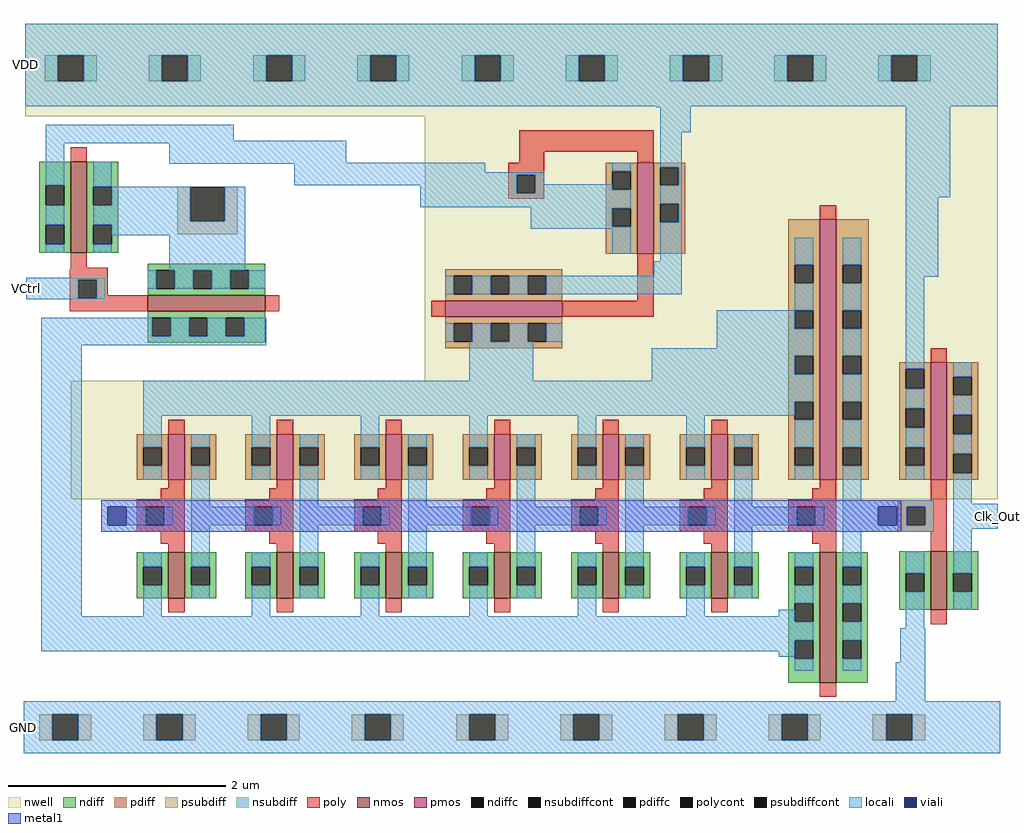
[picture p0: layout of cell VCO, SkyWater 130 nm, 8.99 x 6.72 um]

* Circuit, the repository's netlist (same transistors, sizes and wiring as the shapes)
*Current starved 3 stage VCO
.include sky130nm.lib

xm1 10 16 3 10 sky130_fd_pr__pfet_01v8 l=150n w=420n
xm2 3 16 9 9  sky130_fd_pr__nfet_01v8 l=150n w=420n

xm3 10 3 4 10 sky130_fd_pr__pfet_01v8 l=150n w=420n
xm4 4 3 9 9 sky130_fd_pr__nfet_01v8 l=150n w=420n

xm5 10 4 12 10 sky130_fd_pr__pfet_01v8 l=150n w=420n
xm6 12 4 9 9 sky130_fd_pr__nfet_01v8 l=150n w=420n

xm11 10 12 13 10 sky130_fd_pr__pfet_01v8 l=150n w=420n
xm12 13 12 9 9 sky130_fd_pr__nfet_01v8 l=150n w=420n

xm13 10 13 14 10 sky130_fd_pr__pfet_01v8 l=150n w=420n
xm14 14 13 9 9 sky130_fd_pr__nfet_01v8 l=150n w=420n

xm15 10 14 15 10 sky130_fd_pr__pfet_01v8 l=150n w=420n
xm16 15 14 9 9 sky130_fd_pr__nfet_01v8 l=150n w=420n

xm17 10 15 16 10 sky130_fd_pr__pfet_01v8 l=150n w=2400n
xm18 16 15 9 9 sky130_fd_pr__nfet_01v8 l=150n w=1200n

xm7 10 5 1 1 sky130_fd_pr__pfet_01v8 l=150n w=1080n
xm8 5 5 1 1 sky130_fd_pr__pfet_01v8 l=150n w=840n
xm9 5 in 0 0 sky130_fd_pr__nfet_01v8 l=150n w=840n
xm10 9 in 0 0 sky130_fd_pr__nfet_01v8 l=150n w=1080n

xm19 1 16 11 1 sky130_fd_pr__pfet_01v8 l=150n w=1080n
xm20 11 16 0 0 sky130_fd_pr__nfet_01v8 l=150n w=540n

*c1 11 0 10f
v1 1 0 1.8
v2 in 0 0.6


.control
tran 0.1ns 0.5us
plot v(in) v(11)
*setplot tran1
*linearize v(14)
*set specwindow=blackman
*fft v(14)
*dc v2 0 1.2 0.01
*plot mag(v(14))
.endc
.end

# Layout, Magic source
magic
tech sky130A
<< nwell >>
rect -103 429 793 514
rect 265 185 793 429
rect -61 76 793 185
<< nmos >>
rect -61 303 -46 387
rect 10 249 118 264
rect 29 -15 44 27
rect 129 -15 144 27
rect 229 -15 244 27
rect 329 -15 344 27
rect 429 -15 444 27
rect 529 -15 544 27
rect 629 -93 644 27
rect 731 -26 746 28
<< pmos >>
rect 461 302 476 386
rect 284 244 392 259
rect 29 94 44 136
rect 129 94 144 136
rect 229 94 244 136
rect 329 94 344 136
rect 429 94 444 136
rect 529 94 544 136
rect 629 94 644 334
rect 731 94 746 202
<< ndiff >>
rect -90 365 -61 387
rect -90 347 -84 365
rect -67 347 -61 365
rect -90 329 -61 347
rect -90 311 -84 329
rect -67 311 -61 329
rect -90 303 -61 311
rect -46 364 -17 387
rect -46 347 -40 364
rect -23 347 -17 364
rect -46 329 -17 347
rect -46 311 -40 329
rect -23 311 -17 329
rect -46 303 -17 311
rect 10 287 118 293
rect 10 270 18 287
rect 35 270 52 287
rect 69 270 86 287
rect 103 270 118 287
rect 10 264 118 270
rect 10 243 118 249
rect 10 226 14 243
rect 31 226 48 243
rect 65 226 82 243
rect 99 226 118 243
rect 10 220 118 226
rect 0 14 29 27
rect 0 -3 6 14
rect 23 -3 29 14
rect 0 -15 29 -3
rect 44 14 73 27
rect 44 -3 50 14
rect 67 -3 73 14
rect 44 -15 73 -3
rect 100 14 129 27
rect 100 -3 106 14
rect 123 -3 129 14
rect 100 -15 129 -3
rect 144 14 173 27
rect 144 -3 150 14
rect 167 -3 173 14
rect 144 -15 173 -3
rect 200 14 229 27
rect 200 -3 206 14
rect 223 -3 229 14
rect 200 -15 229 -3
rect 244 14 273 27
rect 244 -3 250 14
rect 267 -3 273 14
rect 244 -15 273 -3
rect 300 14 329 27
rect 300 -3 306 14
rect 323 -3 329 14
rect 300 -15 329 -3
rect 344 14 373 27
rect 344 -3 350 14
rect 367 -3 373 14
rect 344 -15 373 -3
rect 400 14 429 27
rect 400 -3 406 14
rect 423 -3 429 14
rect 400 -15 429 -3
rect 444 14 473 27
rect 444 -3 450 14
rect 467 -3 473 14
rect 444 -15 473 -3
rect 500 14 529 27
rect 500 -3 506 14
rect 523 -3 529 14
rect 500 -15 529 -3
rect 544 14 573 27
rect 544 -3 550 14
rect 567 -3 573 14
rect 544 -15 573 -3
rect 600 14 629 27
rect 600 -3 606 14
rect 623 -3 629 14
rect 600 -20 629 -3
rect 600 -37 606 -20
rect 623 -37 629 -20
rect 600 -54 629 -37
rect 600 -71 606 -54
rect 623 -71 629 -54
rect 600 -93 629 -71
rect 644 14 673 27
rect 644 -3 650 14
rect 667 -3 673 14
rect 644 -20 673 -3
rect 644 -37 650 -20
rect 667 -37 673 -20
rect 702 8 731 28
rect 702 -9 708 8
rect 725 -9 731 8
rect 702 -26 731 -9
rect 746 8 775 28
rect 746 -9 752 8
rect 769 -9 775 8
rect 746 -26 775 -9
rect 644 -54 673 -37
rect 644 -71 650 -54
rect 667 -71 673 -54
rect 644 -93 673 -71
<< pdiff >>
rect 432 378 461 386
rect 432 361 438 378
rect 455 361 461 378
rect 432 344 461 361
rect 432 327 438 344
rect 455 327 461 344
rect 432 302 461 327
rect 476 382 505 386
rect 476 365 482 382
rect 499 365 505 382
rect 476 348 505 365
rect 476 331 482 348
rect 499 331 505 348
rect 476 302 505 331
rect 284 282 392 288
rect 284 265 292 282
rect 309 265 326 282
rect 343 265 360 282
rect 377 265 392 282
rect 284 259 392 265
rect 600 292 629 334
rect 600 275 606 292
rect 623 275 629 292
rect 600 250 629 275
rect 284 238 392 244
rect 284 221 292 238
rect 309 221 326 238
rect 343 221 360 238
rect 377 221 392 238
rect 284 215 392 221
rect 600 233 606 250
rect 623 233 629 250
rect 600 208 629 233
rect 600 191 606 208
rect 623 191 629 208
rect 600 166 629 191
rect 600 149 606 166
rect 623 149 629 166
rect 0 124 29 136
rect 0 107 6 124
rect 23 107 29 124
rect 0 94 29 107
rect 44 124 73 136
rect 44 107 50 124
rect 67 107 73 124
rect 44 94 73 107
rect 100 124 129 136
rect 100 107 106 124
rect 123 107 129 124
rect 100 94 129 107
rect 144 124 173 136
rect 144 107 150 124
rect 167 107 173 124
rect 144 94 173 107
rect 200 124 229 136
rect 200 107 206 124
rect 223 107 229 124
rect 200 94 229 107
rect 244 124 273 136
rect 244 107 250 124
rect 267 107 273 124
rect 244 94 273 107
rect 300 124 329 136
rect 300 107 306 124
rect 323 107 329 124
rect 300 94 329 107
rect 344 124 373 136
rect 344 107 350 124
rect 367 107 373 124
rect 344 94 373 107
rect 400 124 429 136
rect 400 107 406 124
rect 423 107 429 124
rect 400 94 429 107
rect 444 124 473 136
rect 444 107 450 124
rect 467 107 473 124
rect 444 94 473 107
rect 500 124 529 136
rect 500 107 506 124
rect 523 107 529 124
rect 500 94 529 107
rect 544 124 573 136
rect 544 107 550 124
rect 567 107 573 124
rect 544 94 573 107
rect 600 124 629 149
rect 600 107 606 124
rect 623 107 629 124
rect 600 94 629 107
rect 644 292 674 334
rect 644 275 650 292
rect 667 275 674 292
rect 644 250 674 275
rect 644 233 650 250
rect 667 233 674 250
rect 644 208 674 233
rect 644 191 650 208
rect 667 191 674 208
rect 644 166 674 191
rect 644 149 650 166
rect 667 149 674 166
rect 644 124 674 149
rect 644 107 650 124
rect 667 107 674 124
rect 644 94 674 107
rect 702 196 731 202
rect 702 178 708 196
rect 725 178 731 196
rect 702 160 731 178
rect 702 142 708 160
rect 725 142 731 160
rect 702 124 731 142
rect 702 107 708 124
rect 725 107 731 124
rect 702 94 731 107
rect 746 189 775 202
rect 746 172 752 189
rect 769 172 775 189
rect 746 154 775 172
rect 746 136 752 154
rect 769 136 775 154
rect 746 118 775 136
rect 746 100 752 118
rect 769 100 775 118
rect 746 94 775 100
<< ndiffc >>
rect -84 347 -67 365
rect -84 311 -67 329
rect -40 347 -23 364
rect -40 311 -23 329
rect 18 270 35 287
rect 52 270 69 287
rect 86 270 103 287
rect 14 226 31 243
rect 48 226 65 243
rect 82 226 99 243
rect 6 -3 23 14
rect 50 -3 67 14
rect 106 -3 123 14
rect 150 -3 167 14
rect 206 -3 223 14
rect 250 -3 267 14
rect 306 -3 323 14
rect 350 -3 367 14
rect 406 -3 423 14
rect 450 -3 467 14
rect 506 -3 523 14
rect 550 -3 567 14
rect 606 -3 623 14
rect 606 -37 623 -20
rect 606 -71 623 -54
rect 650 -3 667 14
rect 650 -37 667 -20
rect 708 -9 725 8
rect 752 -9 769 8
rect 650 -71 667 -54
<< pdiffc >>
rect 438 361 455 378
rect 438 327 455 344
rect 482 365 499 382
rect 482 331 499 348
rect 292 265 309 282
rect 326 265 343 282
rect 360 265 377 282
rect 606 275 623 292
rect 292 221 309 238
rect 326 221 343 238
rect 360 221 377 238
rect 606 233 623 250
rect 606 191 623 208
rect 606 149 623 166
rect 6 107 23 124
rect 50 107 67 124
rect 106 107 123 124
rect 150 107 167 124
rect 206 107 223 124
rect 250 107 267 124
rect 306 107 323 124
rect 350 107 367 124
rect 406 107 423 124
rect 450 107 467 124
rect 506 107 523 124
rect 550 107 567 124
rect 606 107 623 124
rect 650 275 667 292
rect 650 233 667 250
rect 650 191 667 208
rect 650 149 667 166
rect 650 107 667 124
rect 708 178 725 196
rect 708 142 725 160
rect 708 107 725 124
rect 752 172 769 189
rect 752 136 769 154
rect 752 100 769 118
<< psubdiff >>
rect 37 332 49 364
rect 81 332 93 364
rect 37 320 93 332
rect -90 -146 -78 -122
rect -54 -146 -42 -122
rect 6 -146 18 -122
rect 42 -146 54 -122
rect 102 -146 114 -122
rect 138 -146 150 -122
rect 198 -146 210 -122
rect 234 -146 246 -122
rect 294 -146 306 -122
rect 330 -146 342 -122
rect 390 -146 402 -122
rect 426 -146 438 -122
rect 486 -146 498 -122
rect 522 -146 534 -122
rect 582 -146 594 -122
rect 618 -146 630 -122
rect 678 -146 690 -122
rect 714 -146 726 -122
<< nsubdiff >>
rect -85 461 -73 485
rect -49 461 -37 485
rect 11 461 23 485
rect 47 461 59 485
rect 107 461 119 485
rect 143 461 155 485
rect 203 461 215 485
rect 239 461 251 485
rect 299 461 311 485
rect 335 461 347 485
rect 395 461 407 485
rect 431 461 443 485
rect 491 461 503 485
rect 527 461 539 485
rect 587 461 599 485
rect 623 461 635 485
rect 683 461 695 485
rect 719 461 731 485
<< psubdiffcont >>
rect 49 332 81 364
rect -78 -146 -54 -122
rect 18 -146 42 -122
rect 114 -146 138 -122
rect 210 -146 234 -122
rect 306 -146 330 -122
rect 402 -146 426 -122
rect 498 -146 522 -122
rect 594 -146 618 -122
rect 690 -146 714 -122
<< nsubdiffcont >>
rect -73 461 -49 485
rect 23 461 47 485
rect 119 461 143 485
rect 215 461 239 485
rect 311 461 335 485
rect 407 461 431 485
rect 503 461 527 485
rect 599 461 623 485
rect 695 461 719 485
<< poly >>
rect -61 387 -46 400
rect 352 396 476 416
rect 352 386 375 396
rect 461 386 476 396
rect 342 375 375 386
rect 342 358 350 375
rect 367 358 375 375
rect 342 353 375 358
rect -61 289 -46 303
rect 629 334 644 347
rect -61 288 -27 289
rect -62 278 -27 288
rect -62 261 -54 278
rect -37 264 -27 278
rect -37 261 10 264
rect -62 249 10 261
rect 118 249 131 264
rect 461 259 476 302
rect 271 244 284 259
rect 392 244 476 259
rect 29 136 44 149
rect 129 136 144 149
rect 229 136 244 149
rect 329 136 344 149
rect 429 136 444 149
rect 529 136 544 149
rect 731 202 746 215
rect 29 86 44 94
rect 129 86 144 94
rect 229 86 244 94
rect 329 86 344 94
rect 429 86 444 94
rect 529 86 544 94
rect 629 86 644 94
rect 22 76 44 86
rect 122 76 144 86
rect 222 76 244 86
rect 322 76 344 86
rect 422 76 444 86
rect 522 76 544 86
rect 622 76 644 86
rect 0 69 44 76
rect 0 52 8 69
rect 25 52 44 69
rect 0 46 44 52
rect 100 69 144 76
rect 100 52 108 69
rect 125 52 144 69
rect 100 46 144 52
rect 200 69 244 76
rect 200 52 208 69
rect 225 52 244 69
rect 200 46 244 52
rect 300 69 344 76
rect 300 52 308 69
rect 325 52 344 69
rect 300 46 344 52
rect 400 69 444 76
rect 400 52 408 69
rect 425 52 444 69
rect 400 46 444 52
rect 500 69 544 76
rect 500 52 508 69
rect 525 52 544 69
rect 500 46 544 52
rect 600 69 644 76
rect 731 75 746 94
rect 600 52 608 69
rect 625 52 644 69
rect 600 46 644 52
rect 701 69 746 75
rect 701 52 709 69
rect 726 52 746 69
rect 701 46 746 52
rect 22 35 44 46
rect 122 35 144 46
rect 222 35 244 46
rect 322 35 344 46
rect 422 35 444 46
rect 522 35 544 46
rect 622 35 644 46
rect 29 27 44 35
rect 129 27 144 35
rect 229 27 244 35
rect 329 27 344 35
rect 429 27 444 35
rect 529 27 544 35
rect 629 27 644 35
rect 731 28 746 46
rect 29 -28 44 -15
rect 129 -28 144 -15
rect 229 -28 244 -15
rect 329 -28 344 -15
rect 429 -28 444 -15
rect 529 -28 544 -15
rect 731 -39 746 -26
rect 629 -106 644 -93
<< polycont >>
rect 350 358 367 375
rect -54 261 -37 278
rect 8 52 25 69
rect 108 52 125 69
rect 208 52 225 69
rect 308 52 325 69
rect 408 52 425 69
rect 508 52 525 69
rect 608 52 625 69
rect 709 52 726 69
<< locali >>
rect -103 485 793 514
rect -103 461 -73 485
rect -49 461 23 485
rect 47 461 119 485
rect 143 461 215 485
rect 239 461 311 485
rect 335 461 407 485
rect 431 461 503 485
rect 527 461 599 485
rect 623 461 695 485
rect 719 461 793 485
rect -103 438 793 461
rect 478 437 510 438
rect -84 406 89 421
rect 482 414 510 437
rect -84 404 193 406
rect -84 365 -67 404
rect -84 329 -67 347
rect -84 303 -67 311
rect -40 364 -23 387
rect 30 386 193 404
rect 30 385 321 386
rect 145 377 321 385
rect 438 378 455 386
rect 145 375 375 377
rect 145 365 350 375
rect -23 347 49 364
rect -40 332 49 347
rect 81 332 100 364
rect 261 358 350 365
rect 367 366 375 375
rect 367 361 438 366
rect 367 358 455 361
rect 261 345 455 358
rect -40 329 100 332
rect -23 319 100 329
rect 363 344 455 345
rect 363 327 438 344
rect 363 325 455 327
rect -40 303 -23 311
rect 30 287 100 319
rect 438 302 455 325
rect 482 382 502 414
rect 499 365 502 382
rect 482 348 502 365
rect 499 331 502 348
rect 482 295 502 331
rect 708 354 749 438
rect -102 278 -29 280
rect -102 261 -54 278
rect -37 261 -29 278
rect 10 270 18 287
rect 35 270 52 287
rect 69 270 86 287
rect 103 270 118 287
rect 476 282 502 295
rect 284 265 292 282
rect 309 265 326 282
rect 343 265 360 282
rect 377 265 502 282
rect 606 292 623 317
rect -102 260 -29 261
rect 606 250 623 275
rect -88 226 14 243
rect 31 226 48 243
rect 65 226 82 243
rect 99 226 119 243
rect -88 218 119 226
rect 284 221 292 238
rect 309 221 326 238
rect 343 221 360 238
rect 377 221 392 238
rect 534 233 606 250
rect -88 -32 -51 218
rect 306 185 365 221
rect 534 215 623 233
rect 474 208 623 215
rect 474 191 606 208
rect 474 185 623 191
rect 6 166 623 185
rect 6 153 606 166
rect 6 124 23 153
rect 6 94 23 107
rect 50 124 67 136
rect 50 69 67 107
rect 106 124 123 153
rect 106 94 123 107
rect 150 124 167 136
rect 150 69 167 107
rect 206 124 223 153
rect 206 94 223 107
rect 250 124 267 136
rect 250 69 267 107
rect 306 124 323 153
rect 306 94 323 107
rect 350 124 367 136
rect 350 69 367 107
rect 406 124 423 153
rect 406 94 423 107
rect 450 124 467 136
rect 450 69 467 107
rect 506 124 523 153
rect 506 94 523 107
rect 550 124 567 136
rect 550 69 567 107
rect 606 124 623 149
rect 606 94 623 107
rect 650 292 667 317
rect 650 250 667 275
rect 650 208 667 233
rect 650 166 667 191
rect 650 124 667 149
rect 650 75 667 107
rect 708 281 738 354
rect 708 196 725 281
rect 708 160 725 178
rect 708 124 725 142
rect 708 94 725 107
rect 752 189 769 202
rect 752 154 769 172
rect 752 118 769 136
rect 650 69 734 75
rect -10 52 8 69
rect 25 52 33 69
rect 50 52 108 69
rect 125 52 133 69
rect 150 52 208 69
rect 225 52 233 69
rect 250 52 308 69
rect 325 52 333 69
rect 350 52 408 69
rect 425 52 433 69
rect 450 52 508 69
rect 525 52 533 69
rect 550 52 608 69
rect 625 52 633 69
rect 650 52 683 69
rect 700 52 709 69
rect 726 52 734 69
rect 6 14 23 27
rect 6 -32 23 -3
rect 50 14 67 52
rect 50 -15 67 -3
rect 106 14 123 27
rect 106 -32 123 -3
rect 150 14 167 52
rect 150 -15 167 -3
rect 206 14 223 27
rect 206 -32 223 -3
rect 250 14 267 52
rect 250 -15 267 -3
rect 306 14 323 27
rect 306 -32 323 -3
rect 350 14 367 52
rect 350 -15 367 -3
rect 406 14 423 27
rect 406 -32 423 -3
rect 450 14 467 52
rect 450 -15 467 -3
rect 506 14 523 27
rect 506 -32 523 -3
rect 550 14 567 52
rect 650 46 734 52
rect 752 72 769 100
rect 752 49 793 72
rect 550 -15 567 -3
rect 606 14 623 27
rect 606 -20 623 -3
rect 591 -32 606 -26
rect -88 -37 606 -32
rect -88 -54 623 -37
rect -88 -64 606 -54
rect 591 -69 606 -64
rect 606 -82 623 -71
rect 650 14 667 46
rect 650 -20 667 -3
rect 650 -54 667 -37
rect 708 8 725 28
rect 708 -43 725 -9
rect 752 8 769 49
rect 752 -26 769 -9
rect 650 -82 667 -71
rect 703 -74 726 -43
rect 699 -110 726 -74
rect -104 -122 795 -110
rect -104 -146 -78 -122
rect -54 -146 18 -122
rect 42 -146 114 -122
rect 138 -146 210 -122
rect 234 -146 306 -122
rect 330 -146 402 -122
rect 426 -146 498 -122
rect 522 -146 594 -122
rect 618 -146 690 -122
rect 714 -146 795 -122
rect -104 -158 795 -146
<< viali >>
rect -27 52 -10 69
rect 683 52 700 69
<< metal1 >>
rect -33 69 704 75
rect -33 52 -27 69
rect -10 52 683 69
rect 700 52 704 69
rect -33 47 704 52
rect -33 46 703 47
<< labels >>
rlabel locali -102 260 -102 280 3 VCtrl
port 2 e
rlabel locali -103 438 -103 514 3 VDD
port 3 e
rlabel locali -104 -158 -104 -110 3 GND
port 1 e
rlabel locali 793 49 793 72 7 Clk_Out
port 4 w
<< end >>
